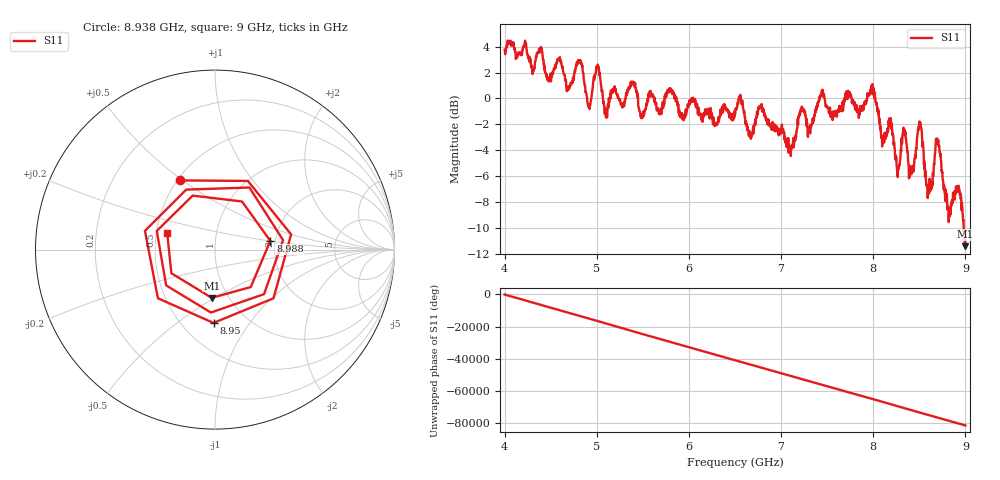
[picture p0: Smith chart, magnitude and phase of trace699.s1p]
! Created with skrf 1.8.0 (http://scikit-rf.org).
# Hz S RI R 50.0
!freq ReS11 ImS11
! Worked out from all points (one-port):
!   1601 points, 4 GHz to 9 GHz, reference 50 ohm
!   lowest |S11| = -11.4 dB at 8.994 GHz (marker M1), VSWR 1.74, Z = 41.8 - j24.2 ohm
!   |S11| at or under -10 dB: 8.982513 GHz to end of sweep
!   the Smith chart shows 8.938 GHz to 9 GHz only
!   S11 on the Smith chart (normalised r, x): 8.938 GHz: 0.52, +0.49; 8.95 GHz: 0.70, -0.69; 8.988 GHz: 1.88, +0.20; 9 GHz: 0.57, +0.11
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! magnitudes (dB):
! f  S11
! 4 GHz  3.8
! 4.625 GHz  2.4
! 4.819 GHz  2.9
! 4.916 GHz  -0.7
! 5.009 GHz  2.4
! 5.094 GHz  -0.8
! 5.25 GHz  -0.1
! 5.875 GHz  -0.5
! 6.5 GHz  -1.2
! 7.125 GHz  -3.5
! 7.225 GHz  -0.6
! 7.309 GHz  -2.5
! 7.444 GHz  0.6
! 7.75 GHz  0.1
! 7.994 GHz  0.8
! 8.262 GHz  -5.8
! 8.331 GHz  -2.4
! 8.375 GHz  -4.2
! 8.422 GHz  -5.6
! 8.506 GHz  -1.8
! 8.597 GHz  -6.9
! 8.7 GHz  -3.4
! 8.816 GHz  -8.6
! 8.938 GHz  -7.3
! 8.95 GHz  -7.8
! 8.988 GHz  -10.1
! 8.994 GHz  -11.4
! 9 GHz  -11.0
